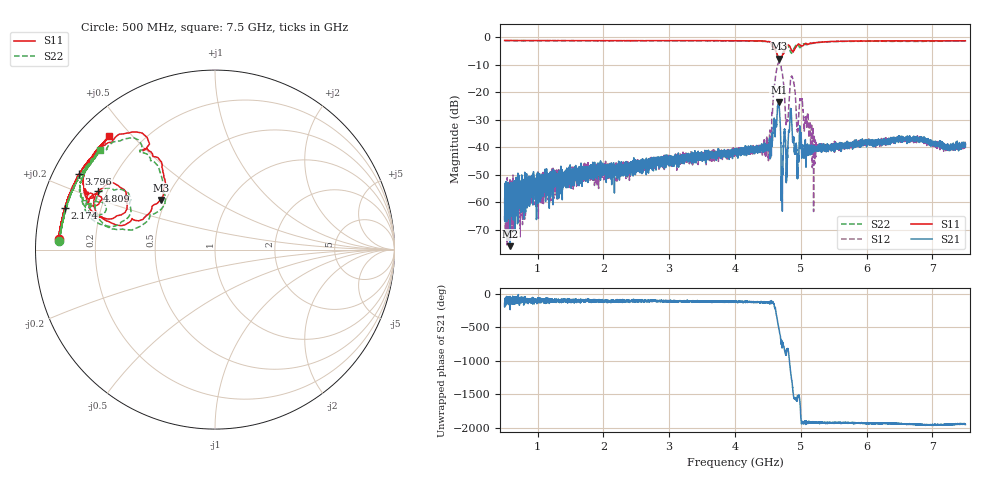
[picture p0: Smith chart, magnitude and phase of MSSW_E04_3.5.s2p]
!Keysight Technologies,M9374A,MY55442783,A.12.55.05
!Date: Wednesday, May 19, 2021 18:28:53
!Correction: S11(Full 2 Port(1,2))
!S21(Full 2 Port(1,2))
!S12(Full 2 Port(1,2))
!S22(Full 2 Port(1,2))
!S2P File: Measurements: S11, S21, S12, S22:
# Hz S  RI  R 50
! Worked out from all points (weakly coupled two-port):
!   7001 points, 500 MHz to 7.5 GHz, reference 50 ohm
!   highest |S21| = -23.48 dB at 4.663 GHz (marker M1); lowest = -75.9 dB at 585 MHz (marker M2)
!   lowest |S11| = -7.8 dB at 4.67 GHz (marker M3), VSWR 2.39, Z = 23.5 + j15.7 ohm
!   |S11| at or under -10 dB: nowhere
!   |S22| runs from -8.5 to -1.2 dB; largest |S21 - S12| = 0.32
!   S11 on the Smith chart (normalised r, x): 500 MHz: 0.07, +0.03; 2.174 GHz: 0.07, +0.14; 3.796 GHz: 0.08, +0.26; 4.809 GHz: 0.16, +0.23; 7.5 GHz: 0.09, +0.43
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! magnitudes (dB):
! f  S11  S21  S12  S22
! 500 MHz  -1.2  -65.3  -60.5  -1.2
! 585 MHz  -1.2  -75.9  -55.4  -1.2
! 1.667 GHz  -1.2  -49.2  -48.5  -1.3
! 2.174 GHz  -1.2  -48.0  -50.3  -1.3
! 2.834 GHz  -1.2  -43.9  -44.8  -1.3
! 3.796 GHz  -1.3  -43.0  -43.2  -1.3
! 4 GHz  -1.3  -41.9  -42.4  -1.4
! 4.521 GHz  -1.6  -39.1  -37.4  -1.7
! 4.611 GHz  -4.3  -35.4  -15.2  -4.5
! 4.663 GHz  -7.5  -23.5  -9.1  -8.0
! 4.67 GHz  -7.8  -24.0  -9.1  -8.5
! 4.72 GHz  -6.5  -52.1  -13.3  -6.0
! 4.777 GHz  -3.5  -47.5  -31.1  -3.0
! 4.809 GHz  -2.7  -36.0  -28.6  -3.2
! 4.836 GHz  -3.4  -29.9  -17.9  -4.8
! 4.873 GHz  -5.1  -37.3  -14.6  -5.3
! 4.944 GHz  -2.9  -46.8  -33.5  -2.6
! 5.007 GHz  -3.2  -36.7  -22.6  -3.3
! 5.167 GHz  -2.2  -40.8  -32.3  -2.2
! 5.227 GHz  -2.0  -40.2  -42.3  -2.1
! 6.334 GHz  -1.3  -38.7  -37.6  -1.5
! 7.5 GHz  -1.3  -38.7  -39.2  -1.4
